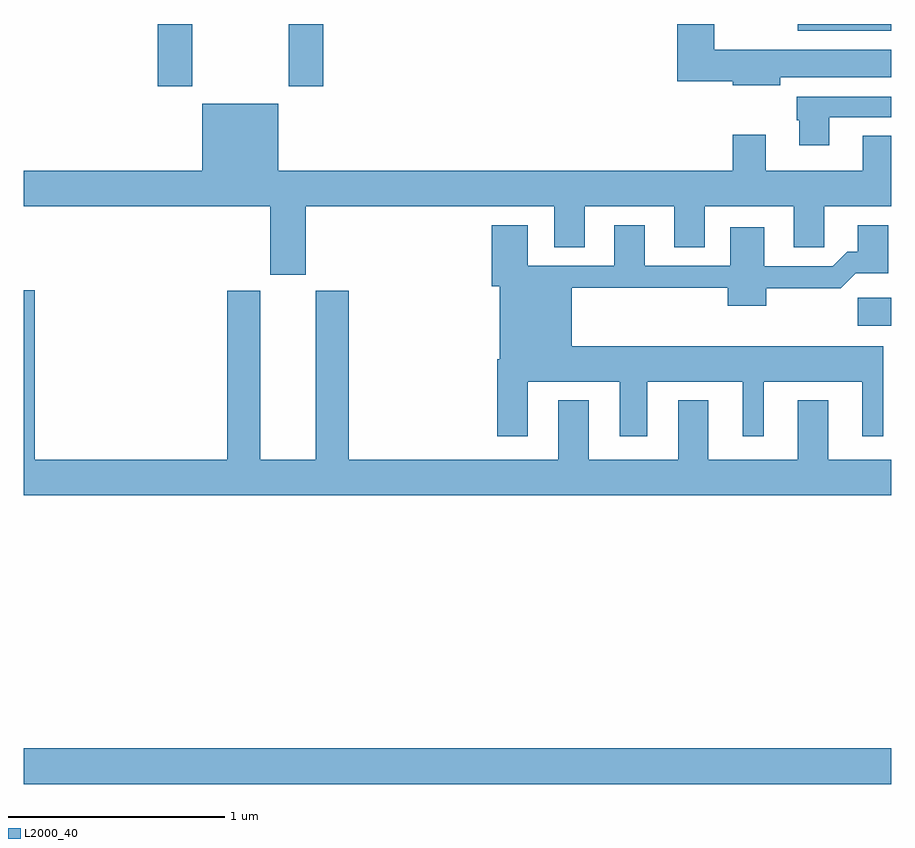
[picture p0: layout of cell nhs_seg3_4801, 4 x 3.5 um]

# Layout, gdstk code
import gdstk
lib = gdstk.Library(unit=1e-6, precision=1e-09)
def R(c, l, rs):  # rectangles x0, y0, x1, y1
    for r in rs: c.add(gdstk.rectangle(r[:2], r[2:], *l))
def P(c, l, *ps):  # polygons
    for p in ps: c.add(gdstk.Polygon(p, *l))
L2000_40 = (2000, 40)

nhs_seg3_4801 = lib.new_cell('nhs_seg3_4801')
R(nhs_seg3_4801, L2000_40, [(369,720.896,373,721.06), (372.846,723.008,373,723.137), (369.617,724.113,369.777,724.4), (370.222,724.113,370.382,724.4), (372.569,724.37,373,724.4)])
P(nhs_seg3_4801, L2000_40, [(372.487,724.154),(373,724.154),(373,724.282),(372.184,724.282),(372.184,724.4),(372.014,724.4),(372.014,724.136),(372.27,724.136),(372.27,724.118),(372.487,724.118)],
  [(372.715,723.969),(373,723.969),(373,724.065),(372.563,724.065),(372.563,723.957),(372.575,723.957),(372.575,723.84),(372.715,723.84)],
  [(370.3,723.56),(371.447,723.56),(371.447,723.37),(371.587,723.37),(371.587,723.56),(371.999,723.56),(371.999,723.37),(372.139,723.37),(372.139,723.56),(372.551,723.56),(372.551,723.37),(372.69,723.37),(372.69,723.56),(373,723.56),(373,723.884),(372.869,723.884),(372.869,723.724),(372.421,723.724),(372.421,723.889),(372.269,723.889),(372.269,723.724),(370.174,723.724),(370.174,724.033),(369.824,724.033),(369.824,723.724),(369,723.724),(369,723.56),(370.136,723.56),(370.136,723.243),(370.3,723.243)],
  [(371.323,722.75),(371.747,722.75),(371.747,722.499),(371.875,722.499),(371.875,722.75),(372.314,722.75),(372.314,722.499),(372.412,722.499),(372.412,722.75),(372.866,722.75),(372.866,722.499),(372.964,722.499),(372.964,722.914),(371.527,722.914),(371.527,723.184),(372.245,723.184),(372.245,723.101),(372.423,723.101),(372.423,723.182),(372.767,723.182),(372.836,723.251),(372.985,723.251),(372.985,723.472),(372.845,723.472),(372.845,723.349),(372.796,723.349),(372.729,723.282),(372.415,723.282),(372.415,723.463),(372.257,723.463),(372.257,723.285),(371.863,723.285),(371.863,723.472),(371.723,723.472),(371.723,723.285),(371.323,723.285),(371.323,723.472),(371.159,723.472),(371.159,723.192),(371.195,723.192),(371.195,722.854),(371.183,722.854),(371.183,722.499),(371.323,722.499)],
  [(373,722.392),(372.709,722.392),(372.709,722.665),(372.569,722.665),(372.569,722.392),(372.157,722.392),(372.157,722.665),(372.017,722.665),(372.017,722.392),(371.605,722.392),(371.605,722.665),(371.465,722.665),(371.465,722.392),(370.499,722.392),(370.499,723.171),(370.346,723.171),(370.346,722.392),(370.09,722.392),(370.09,723.171),(369.938,723.171),(369.938,722.392),(369.05,722.392),(369.05,723.172),(369,723.172),(369,722.228),(373,722.228)])

lib.write_gds('nhs_seg3_4801.gds')
